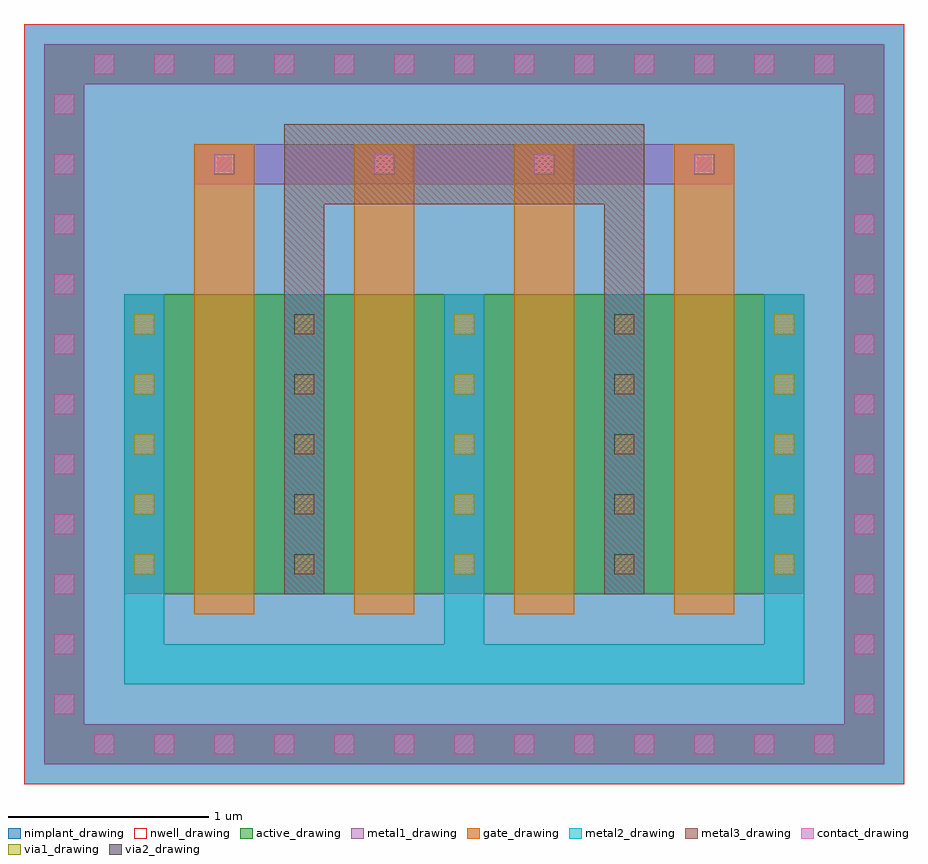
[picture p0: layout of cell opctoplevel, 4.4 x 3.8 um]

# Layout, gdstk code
import gdstk
lib = gdstk.Library(unit=1e-6, precision=1e-09)
def R(c, l, rs):  # rectangles x0, y0, x1, y1
    for r in rs: c.add(gdstk.rectangle(r[:2], r[2:], *l))
def A(c, l, x, y, w, h, nx, ny, dx, dy):  # array of equal rectangles
    R(c, l, [(x+i*dx, y+j*dy, x+i*dx+w, y+j*dy+h) for i in range(nx) for j in range(ny)])
active_drawing = (1, 0)
nwell_drawing = (3, 0)
nimplant_drawing = (5, 0)
gate_drawing = (6, 0)
contact_drawing = (7, 0)
metal1_drawing = (8, 0)
via1_drawing = (9, 0)
metal2_drawing = (10, 0)
via2_drawing = (11, 0)
metal3_drawing = (12, 0)

opctoplevel = lib.new_cell('opctoplevel')
R(opctoplevel, active_drawing, [(-0.75,-0.85,3.45,-0.65), (-0.75,-0.85,-0.55,2.75), (3.25,-0.85,3.45,2.75), (-0.35,0,3.05,1.5), (-0.75,2.55,3.45,2.75)])
R(opctoplevel, nwell_drawing, [(-0.85,-0.95,3.55,2.85)])
R(opctoplevel, nimplant_drawing, [(-0.85,-0.95,3.55,-0.55), (-0.85,-0.95,-0.45,2.85), (3.15,-0.95,3.55,2.85), (-0.45,-0.55,3.15,2.45), (-0.85,2.45,3.55,2.85)])
A(opctoplevel, gate_drawing, 0, -0.1, 0.3, 2.35, 4, 1, 0.8, 0)
A(opctoplevel, contact_drawing, -0.5, -0.8, 0.1, 0.1, 13, 2, 0.3, 3.4)
A(opctoplevel, contact_drawing, -0.7, -0.6, 0.1, 0.1, 1, 9, 0, 0.3)
A(opctoplevel, contact_drawing, 3.3, -0.6, 0.1, 0.1, 1, 9, 0, 0.3)
A(opctoplevel, contact_drawing, -0.3, 0.1, 0.1, 0.1, 5, 5, 0.8, 0.3)
A(opctoplevel, contact_drawing, -0.7, 2.1, 0.1, 0.1, 6, 1, 0.8, 0)
R(opctoplevel, contact_drawing, [(-0.7,2.4,-0.6,2.5), (3.3,2.4,3.4,2.5)])
A(opctoplevel, metal1_drawing, -0.35, 0, 0.2, 1.5, 5, 1, 0.8, 0)
R(opctoplevel, metal1_drawing, [(-0.75,-0.85,3.45,-0.65), (-0.75,-0.85,-0.55,2.75), (3.25,-0.85,3.45,2.75), (0,2.05,2.7,2.25), (-0.75,2.55,3.45,2.75)])
A(opctoplevel, via1_drawing, -0.3, 0.1, 0.1, 0.1, 5, 5, 0.8, 0.3)
A(opctoplevel, metal2_drawing, -0.35, -0.25, 0.2, 0.25, 3, 1, 1.6, 0)
A(opctoplevel, metal2_drawing, -0.35, 0, 0.2, 1.5, 5, 1, 0.8, 0)
R(opctoplevel, metal2_drawing, [(-0.35,-0.45,3.05,-0.25)])
A(opctoplevel, via2_drawing, 0.5, 0.1, 0.1, 0.1, 1, 5, 0, 0.3)
A(opctoplevel, via2_drawing, 2.1, 0.1, 0.1, 0.1, 1, 5, 0, 0.3)
R(opctoplevel, metal3_drawing, [(0.45,0,0.65,1.5), (2.05,0,2.25,1.5), (0.45,1.5,0.65,1.95), (2.05,1.5,2.25,1.95), (0.45,1.95,2.25,2.35)])

lib.write_gds('opctoplevel.gds')
